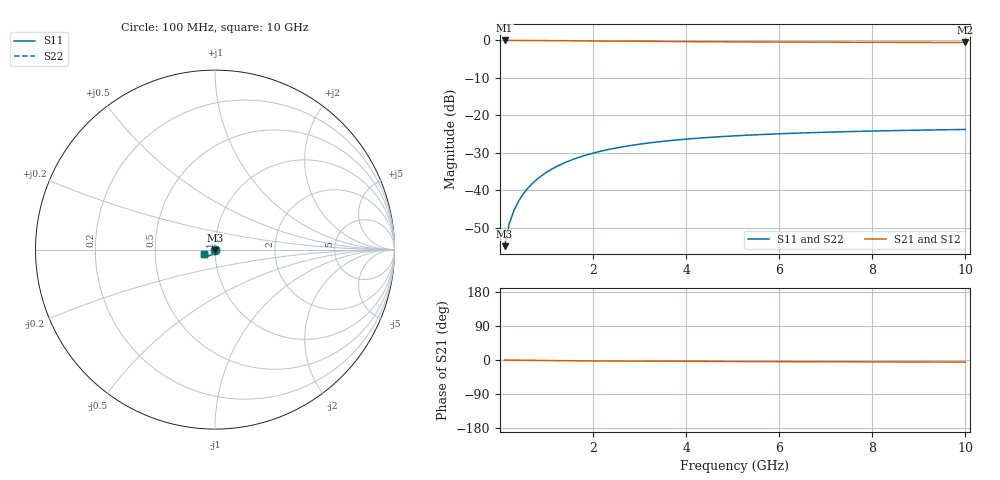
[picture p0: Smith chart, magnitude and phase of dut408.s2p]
! Touchstone file exported from HFSS 2024.1.0
!  File:  C:/UserFiles/LocalFiles/RDL_TSV_Batchsim/temp_TSV1_408_1779692325.aedt
!  Generated:  03:06:00 PM May 25, 2026
!  Design:  TSV1
!  Project:  temp_TSV1_408_1779692325
!  Setup:  Setup1
!  Solution:  Sweep
! Variables:
!  dtsv = 13.5um
!  hbump = 3um
!  htsv = 83.25um
!  lrdl = 252.1521522um
!  p = 40
!  p1 = 46.08um
!  t = 500um
!  trdl = 3um
!  wrdl = 24.89489489um
# GHz S MA R 50.000000
! Terminal data exported
! Port[1] = TSV22_T1
! Port[2] = TSV22_T2
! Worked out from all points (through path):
!   100 points, 100 MHz to 10 GHz, reference 50 ohm
!   highest |S21| = 0.00 dB at 100 MHz (marker M1); lowest = -0.5 dB at 10 GHz (marker M2)
!   lowest |S11| = -55.0 dB at 100 MHz (marker M3), VSWR 1.00, Z = 50 - j0.179 ohm
!   |S11| at or under -10 dB: start of sweep to end of sweep
!   |S22| runs from -55.0 to -23.8 dB; largest |S21 - S12| = 5.1e-15
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0.1  0.001786 -88.7  0.9999 -0.1  0.9999 -0.1  0.001786 -88.7
! Gamma 0 0 0 0
! Port Impedance 50 0 50 0
0.2  0.00357 -91.6  0.9997 -0.3  0.9997 -0.3  0.00357 -91.6
0.3  0.005353 -93.6  0.9994 -0.4  0.9994 -0.4  0.005353 -93.6
0.4  0.007129 -95.4  0.9991 -0.6  0.9991 -0.6  0.007129 -95.4
0.5  0.008889 -97.1  0.9986 -0.7  0.9986 -0.7  0.008889 -97.1
0.6  0.01063 -98.8  0.9981 -0.8  0.9981 -0.8  0.01063 -98.8
0.7  0.01234 -100.4  0.9975 -1.0  0.9975 -1.0  0.01234 -100.4
0.8  0.01403 -102.0  0.9968 -1.1  0.9968 -1.1  0.01403 -102.0
0.9  0.01568 -103.6  0.996 -1.2  0.996 -1.2  0.01568 -103.6
1.1  0.01888 -106.6  0.9943 -1.5  0.9943 -1.5  0.01888 -106.6
1.4  0.02338 -110.9  0.9915 -1.8  0.9915 -1.8  0.02338 -110.9
1.6  0.02617 -113.6  0.9894 -2.0  0.9894 -2.0  0.02617 -113.6
1.8  0.02879 -116.1  0.9873 -2.2  0.9873 -2.2  0.02879 -116.1
2.1  0.03239 -119.7  0.984 -2.5  0.984 -2.5  0.03239 -119.7
2.5  0.03663 -124.0  0.9796 -2.8  0.9796 -2.8  0.03663 -124.0
2.9  0.0403 -127.9  0.9755 -3.0  0.9755 -3.0  0.0403 -127.9
3.4  0.04419 -132.1  0.9707 -3.3  0.9707 -3.3  0.04419 -132.1
4.2  0.04915 -137.7  0.9641 -3.6  0.9641 -3.6  0.04915 -137.7
5.1  0.05339 -142.7  0.958 -4.0  0.958 -4.0  0.05339 -142.7
6.7  0.05866 -149.5  0.9499 -4.5  0.9499 -4.5  0.05866 -149.5
8.4  0.06234 -154.8  0.944 -5.0  0.944 -5.0  0.06234 -154.8
10  0.06474 -158.6  0.94 -5.5  0.94 -5.5  0.06474 -158.6
